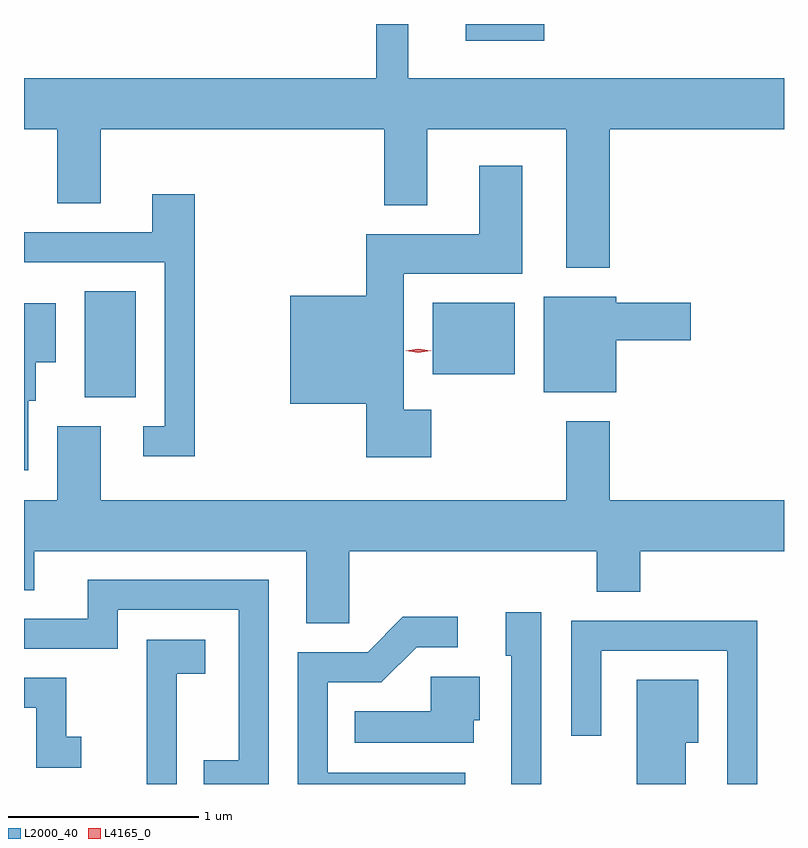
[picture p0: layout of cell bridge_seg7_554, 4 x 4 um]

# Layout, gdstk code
import gdstk
lib = gdstk.Library(unit=1e-6, precision=1e-09)
def R(c, l, rs):  # rectangles x0, y0, x1, y1
    for r in rs: c.add(gdstk.rectangle(r[:2], r[2:], *l))
def P(c, l, *ps):  # polygons
    for p in ps: c.add(gdstk.Polygon(p, *l))
L2000_40 = (2000, 40)
L4165_0 = (4165, 0)

bridge_seg7_554 = lib.new_cell('bridge_seg7_554')
R(bridge_seg7_554, L2000_40, [(963.806,1766.186,964.074,1766.744), (965.636,1766.306,966.069,1766.684), (965.811,1768.061,966.224,1768.15)])
P(bridge_seg7_554, L2000_40, [(966.569,1767.596),(967.486,1767.596),(967.486,1767.864),(965.509,1767.864),(965.509,1768.15),(965.341,1768.15),(965.341,1767.864),(963.486,1767.864),(963.486,1767.596),(963.661,1767.596),(963.661,1767.206),(963.889,1767.206),(963.889,1767.596),(965.381,1767.596),(965.381,1767.196),(965.609,1767.196),(965.609,1767.596),(966.341,1767.596),(966.341,1766.866),(966.569,1766.866)],
  [(965.629,1766.119),(965.484,1766.119),(965.484,1766.836),(966.109,1766.836),(966.109,1767.404),(965.881,1767.404),(965.881,1767.044),(965.286,1767.044),(965.286,1766.719),(964.886,1766.719),(964.886,1766.151),(965.286,1766.151),(965.286,1765.871),(965.629,1765.871)],
  [(964.384,1767.254),(964.161,1767.254),(964.161,1767.054),(963.486,1767.054),(963.486,1766.896),(964.226,1766.896),(964.226,1766.034),(964.113,1766.034),(964.113,1765.876),(964.384,1765.876)],
  [(966.604,1766.486),(966.994,1766.486),(966.994,1766.684),(966.604,1766.684),(966.604,1766.714),(966.221,1766.714),(966.221,1766.211),(966.604,1766.211)],
  [(963.509,1766.166),(963.549,1766.166),(963.549,1766.371),(963.654,1766.371),(963.654,1766.679),(963.486,1766.679),(963.486,1765.801),(963.509,1765.801)],
  [(965.199,1765.376),(966.501,1765.376),(966.501,1765.161),(966.729,1765.161),(966.729,1765.376),(967.486,1765.376),(967.486,1765.644),(966.569,1765.644),(966.569,1766.059),(966.341,1766.059),(966.341,1765.644),(963.889,1765.644),(963.889,1766.034),(963.661,1766.034),(963.661,1765.644),(963.486,1765.644),(963.486,1765.171),(963.539,1765.171),(963.539,1765.376),(964.971,1765.376),(964.971,1764.996),(965.199,1764.996)],
  [(964.774,1765.224),(963.821,1765.224),(963.821,1765.019),(963.486,1765.019),(963.486,1764.861),(963.979,1764.861),(963.979,1765.066),(964.616,1765.066),(964.616,1764.274),(964.433,1764.274),(964.433,1764.15),(964.774,1764.15)],
  [(966.209,1765.054),(966.021,1765.054),(966.021,1764.826),(966.051,1764.826),(966.051,1764.15),(966.209,1764.15)],
  [(965.808,1764.209),(965.084,1764.209),(965.084,1764.686),(965.367,1764.686),(965.552,1764.871),(965.768,1764.871),(965.768,1765.029),(965.479,1765.029),(965.294,1764.844),(964.926,1764.844),(964.926,1764.15),(965.808,1764.15)],
  [(967.344,1765.009),(966.366,1765.009),(966.366,1764.403),(966.524,1764.403),(966.524,1764.851),(967.186,1764.851),(967.186,1764.15),(967.344,1764.15)],
  [(964.289,1764.731),(964.439,1764.731),(964.439,1764.909),(964.131,1764.909),(964.131,1764.15),(964.289,1764.15)],
  [(965.854,1764.486),(965.884,1764.486),(965.884,1764.714),(965.626,1764.714),(965.626,1764.534),(965.228,1764.534),(965.228,1764.366),(965.854,1764.366)],
  [(963.788,1764.399),(963.709,1764.399),(963.709,1764.709),(963.486,1764.709),(963.486,1764.551),(963.551,1764.551),(963.551,1764.236),(963.788,1764.236)],
  [(966.969,1764.366),(967.034,1764.366),(967.034,1764.699),(966.711,1764.699),(966.711,1764.15),(966.969,1764.15)])
P(bridge_seg7_554, L4165_0, [(965.562,1766.42),(965.496,1766.43),(965.496,1766.43),(965.496,1766.431),(965.562,1766.44),(965.629,1766.431),(965.629,1766.43),(965.629,1766.43)])

lib.write_gds('bridge_seg7_554.gds')
